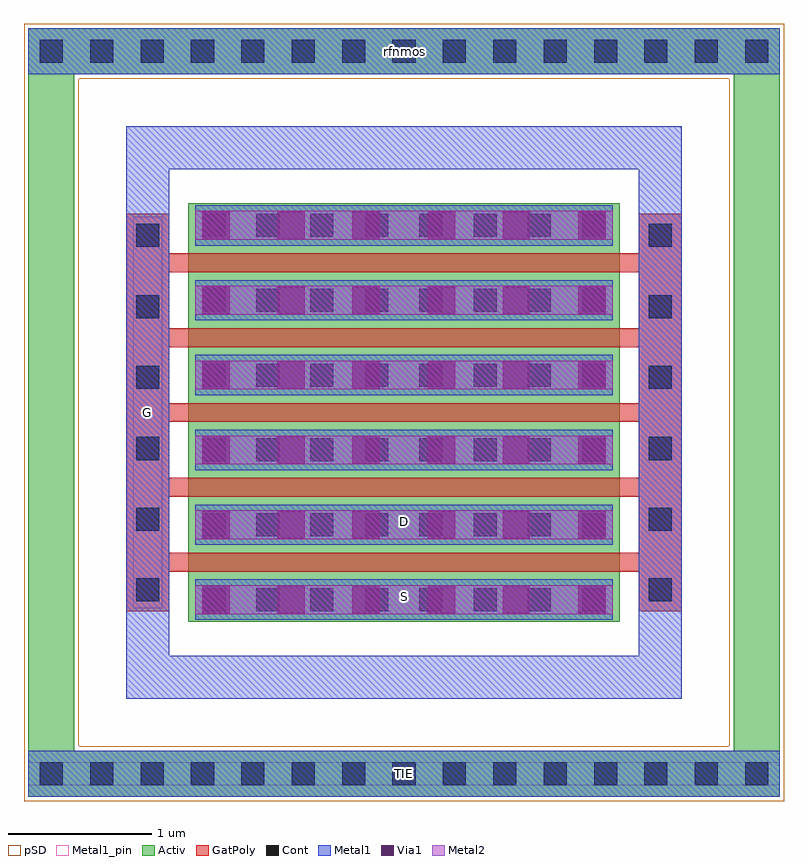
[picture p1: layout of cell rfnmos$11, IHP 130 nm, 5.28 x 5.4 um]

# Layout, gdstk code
import gdstk
lib = gdstk.Library(unit=1e-6, precision=5e-09)
def R(c, l, rs):  # rectangles x0, y0, x1, y1
    for r in rs: c.add(gdstk.rectangle(r[:2], r[2:], *l))
def A(c, l, x, y, w, h, nx, ny, dx, dy):  # array of equal rectangles
    R(c, l, [(x+i*dx, y+j*dy, x+i*dx+w, y+j*dy+h) for i in range(nx) for j in range(ny)])
def P(c, l, *ps):  # polygons
    for p in ps: c.add(gdstk.Polygon(p, *l))
Activ = (1, 0)
GatPoly = (5, 0)
Cont = (6, 0)
Metal1 = (8, 0)
Metal1_pin = (8, 2)
Metal2 = (10, 0)
pSD = (14, 0)
Via1 = (19, 0)

rfnmos_11 = lib.new_cell('rfnmos$11')
R(rfnmos_11, Activ, [(1.14,1.245,4.14,4.155)])
P(rfnmos_11, Activ, [(0.03,0.03),(0.03,5.05),(0.35,5.05),(0.35,0.35),(4.93,0.35),(4.93,5.05),(0.03,5.05),(0.03,5.37),(5.25,5.37),(5.25,0.03)])
A(rfnmos_11, GatPoly, 1.01, 1.595, 3.26, 0.13, 1, 5, 0, 0.52)
R(rfnmos_11, GatPoly, [(0.71,1.32,1.01,4.08), (4.27,1.32,4.57,4.08)])
A(rfnmos_11, Cont, 0.11, 0.11, 0.16, 0.16, 15, 2, 0.35, 5.02)
A(rfnmos_11, Cont, 1.24, 1.32, 0.16, 0.16, 3, 6, 0.375, 0.52)
A(rfnmos_11, Cont, 2.37, 1.32, 0.16, 0.16, 1, 6, 0, 0.52)
A(rfnmos_11, Cont, 2.745, 1.32, 0.16, 0.16, 1, 6, 0, 0.52)
A(rfnmos_11, Cont, 3.125, 1.32, 0.16, 0.16, 1, 6, 0, 0.52)
A(rfnmos_11, Cont, 3.5, 1.32, 0.16, 0.16, 1, 6, 0, 0.52)
A(rfnmos_11, Cont, 3.88, 1.32, 0.16, 0.16, 1, 6, 0, 0.52)
A(rfnmos_11, Cont, 0.78, 1.39, 0.16, 0.16, 1, 3, 0, 0.49)
A(rfnmos_11, Cont, 4.34, 1.39, 0.16, 0.16, 1, 3, 0, 0.49)
R(rfnmos_11, Cont, [(0.78,2.865,0.94,3.025), (4.34,2.865,4.5,3.025), (0.78,3.355,0.94,3.515), (4.34,3.355,4.5,3.515), (0.78,3.85,0.94,4.01), (4.34,3.85,4.5,4.01)])
A(rfnmos_11, Metal1, 1.19, 1.26, 2.9, 0.28, 1, 6, 0, 0.52)
R(rfnmos_11, Metal1, [(0.03,0.03,5.25,0.35), (0.76,1.34,0.96,4.06), (4.32,1.34,4.52,4.06), (0.03,5.05,5.25,5.37)])
P(rfnmos_11, Metal1, [(0.71,0.71),(0.71,4.39),(1.01,4.39),(1.01,1.01),(4.27,1.01),(4.27,4.39),(0.71,4.39),(0.71,4.69),(4.57,4.69),(4.57,0.71)])
R(rfnmos_11, Metal1_pin, [(0.03,0.11,5.25,0.27), (0.03,0.11,5.25,0.27), (1.19,1.26,4.09,1.54), (1.19,1.26,4.09,1.54), (0.76,1.34,0.96,4.06), (0.76,1.34,0.96,4.06), (1.19,1.78,4.09,2.06), (1.19,1.78,4.09,2.06)])
A(rfnmos_11, Metal2, 1.19, 1.3, 2.9, 0.2, 1, 6, 0, 0.52)
P(rfnmos_11, pSD, [(0,0),(0,5.02),(0.38,5.02),(0.38,0.38),(4.9,0.38),(4.9,5.02),(0,5.02),(0,5.4),(5.28,5.4),(5.28,0)])
A(rfnmos_11, Via1, 1.24, 1.305, 0.19, 0.19, 3, 6, 0.52, 0.52)
A(rfnmos_11, Via1, 2.805, 1.305, 0.19, 0.19, 1, 6, 0, 0.52)
A(rfnmos_11, Via1, 3.325, 1.305, 0.19, 0.19, 1, 6, 0, 0.52)
A(rfnmos_11, Via1, 3.85, 1.305, 0.19, 0.19, 1, 6, 0, 0.52)
rfnmos_11.add(gdstk.Label('S', (2.64,1.42), layer=63, texttype=0))
rfnmos_11.add(gdstk.Label('D', (2.64,1.94), layer=63, texttype=0))
rfnmos_11.add(gdstk.Label('G', (0.86,2.7), layer=63, texttype=0))
rfnmos_11.add(gdstk.Label('TIE', (2.64,0.19), layer=63, texttype=0))
rfnmos_11.add(gdstk.Label('rfnmos', (2.64,5.21), layer=63, texttype=0))

lib.write_gds('rfnmos_11.gds')
